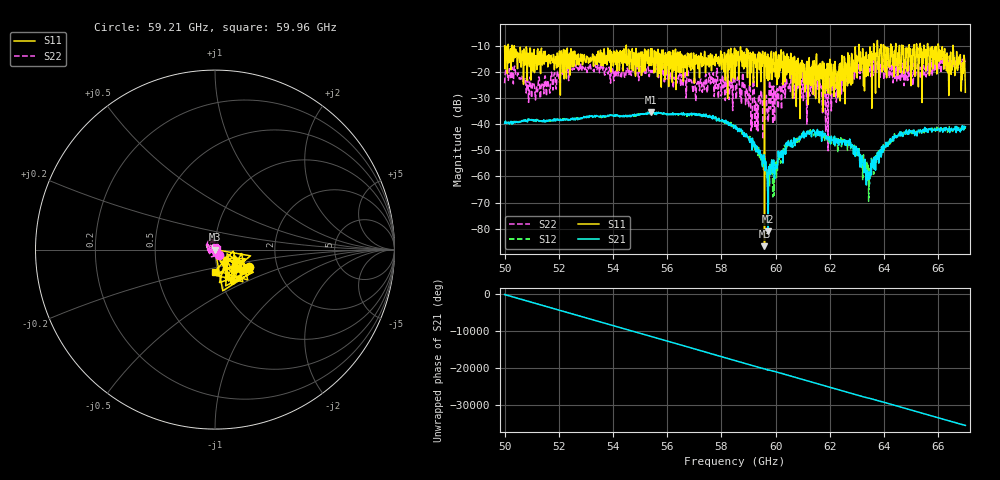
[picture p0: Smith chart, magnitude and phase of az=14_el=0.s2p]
!Created with skrf (http://scikit-rf.org).
# GHz S RI R 50.0
!freq ReS11 ImS11 ReS21 ImS21 ReS12 ImS12 ReS22 ImS22
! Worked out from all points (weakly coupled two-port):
!   1001 points, 50 GHz to 67 GHz, reference 50 ohm
!   highest |S21| = -35.43 dB at 55.41 GHz (marker M1); lowest = -81.0 dB at 59.72 GHz (marker M2)
!   lowest |S11| = -86.7 dB at 59.59 GHz (marker M3), VSWR 1.00, Z = 50 + j0.00431 ohm
!   |S11| at or under -10 dB: 50.36 GHz to 54.49 GHz (4.13 GHz wide, 7.88 % of centre); 54.49 GHz to 63.07 GHz (8.582 GHz wide, 14.6 % of centre); 63.08 GHz to 63.61 GHz (538.2 MHz wide, 0.85 % of centre) (the widest 3 of 23)
!   |S22| runs from -50.2 to -14.1 dB; largest |S21 - S12| = 0.0022
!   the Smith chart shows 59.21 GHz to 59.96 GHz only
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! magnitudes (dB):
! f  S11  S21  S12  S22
! 50 GHz  -10.0  -39.7  -39.8  -24.3
! 50.42 GHz  -14.0  -39.0  -39.0  -21.6
! 51.07 GHz  -12.0  -38.4  -38.5  -24.1
! 52.84 GHz  -14.1  -37.5  -37.9  -19.7
! 55.41 GHz  -14.9  -35.4  -35.7  -20.2
! 55.68 GHz  -13.4  -35.5  -35.3  -22.2
! 58.5 GHz  -22.7  -41.4  -41.0  -23.6
! 58.86 GHz  -17.5  -43.8  -44.2  -24.9
! 59.3 GHz  -15.1  -48.3  -51.0  -42.7
! 59.44 GHz  -12.8  -51.7  -51.1  -32.2
! 59.59 GHz  -86.7  -52.2  -50.6  -31.2
! 59.72 GHz  -23.3  -81.0  -61.6  -39.2
! 59.98 GHz  -16.5  -56.9  -54.6  -28.4
! 60.64 GHz  -14.5  -47.0  -47.7  -22.4
! 61.34 GHz  -24.5  -42.5  -43.3  -25.6
! 61.88 GHz  -26.5  -44.6  -46.1  -23.0
! 62.75 GHz  -21.8  -47.4  -47.6  -20.1
! 63.41 GHz  -21.5  -61.1  -55.7  -16.1
! 64.18 GHz  -18.0  -47.4  -47.5  -18.6
! 66.08 GHz  -15.1  -41.8  -42.3  -15.8
! 66.75 GHz  -17.3  -42.3  -41.3  -18.3
! 67 GHz  -27.8  -41.1  -41.7  -15.6
